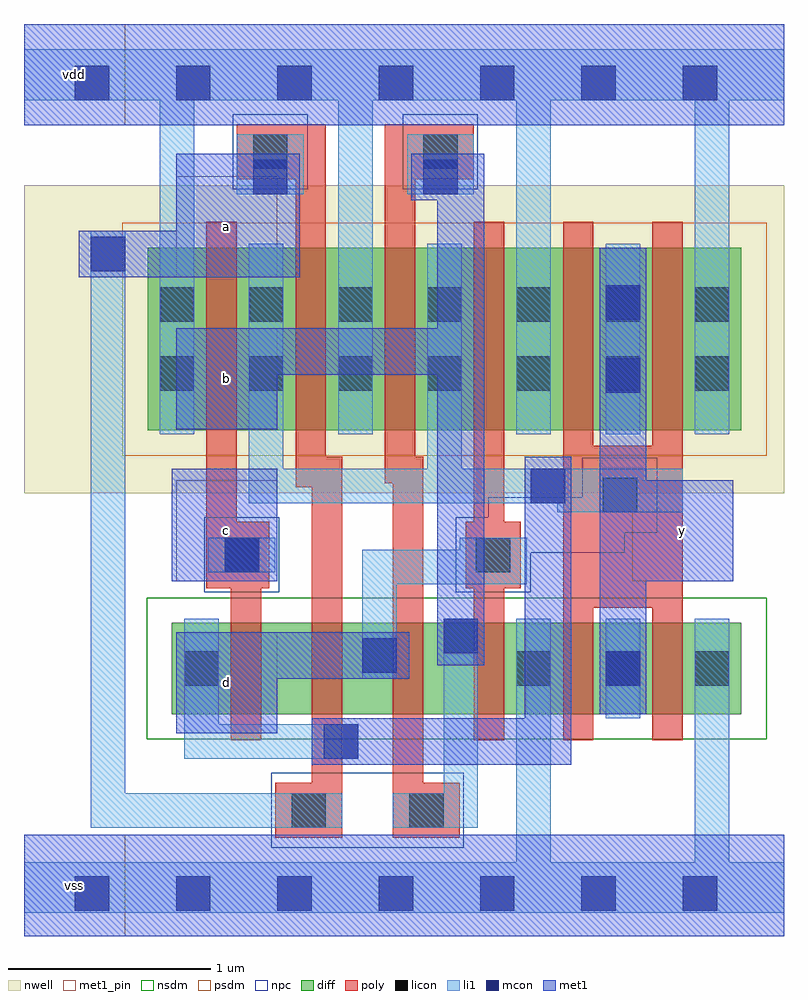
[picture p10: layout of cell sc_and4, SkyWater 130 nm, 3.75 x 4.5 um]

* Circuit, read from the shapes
.subckt sc_and4 a b c d vdd vss y
XM1 sky130_fd_pr__nfet_01v8_sc_and4_m6_4/D c sky130_fd_pr__nfet_01v8_sc_and4_m5_5/D VSUBS sky130_fd_pr__nfet_01v8 w=0.45 l=0.15
XM2 sky130_fd_pr__nfet_01v8_sc_and4_m7_3/D a sky130_fd_pr__nfet_01v8_sc_and4_m6_4/D VSUBS sky130_fd_pr__nfet_01v8 w=0.45 l=0.15
XM3 sky130_fd_pr__nfet_01v8_sc_and4_m8_2/D b sky130_fd_pr__nfet_01v8_sc_and4_m7_3/D VSUBS sky130_fd_pr__nfet_01v8 w=0.45 l=0.15
XM4 vss d sky130_fd_pr__nfet_01v8_sc_and4_m8_2/D VSUBS sky130_fd_pr__nfet_01v8 w=0.45 l=0.15
XM5 y sky130_fd_pr__nfet_01v8_sc_and4_m5_5/D vss VSUBS sky130_fd_pr__nfet_01v8 w=0.45 l=0.15 m=2
XM6 sky130_fd_pr__nfet_01v8_sc_and4_m5_5/D c vdd n1 sky130_fd_pr__pfet_01v8 w=0.9 l=0.15
XM7 vdd a sky130_fd_pr__nfet_01v8_sc_and4_m5_5/D n1 sky130_fd_pr__pfet_01v8 w=0.9 l=0.15
XM8 sky130_fd_pr__nfet_01v8_sc_and4_m5_5/D b vdd n1 sky130_fd_pr__pfet_01v8 w=0.9 l=0.15
XM9 vdd d sky130_fd_pr__nfet_01v8_sc_and4_m5_5/D n1 sky130_fd_pr__pfet_01v8 w=0.9 l=0.15
XM10 y sky130_fd_pr__nfet_01v8_sc_and4_m5_5/D vdd n1 sky130_fd_pr__pfet_01v8 w=0.9 l=0.15 m=2
.ends

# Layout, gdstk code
from math import pi, radians
import gdstk
lib = gdstk.Library(unit=1e-6, precision=1e-09)
def R(c, l, rs):  # rectangles x0, y0, x1, y1
    for r in rs: c.add(gdstk.rectangle(r[:2], r[2:], *l))
def A(c, l, x, y, w, h, nx, ny, dx, dy):  # array of equal rectangles
    R(c, l, [(x+i*dx, y+j*dy, x+i*dx+w, y+j*dy+h) for i in range(nx) for j in range(ny)])
nwell = (64, 20)
diff = (65, 20)
poly = (66, 20)
licon = (66, 44)
li1 = (67, 20)
mcon = (67, 44)
met1_pin = (68, 16)
met1 = (68, 20)
nsdm = (93, 44)
psdm = (94, 20)
npc = (95, 20)

sky130_fd_pr__nfet_01v8_ = lib.new_cell('sky130_fd_pr__nfet_01v8_scc_inv_m2')
R(sky130_fd_pr__nfet_01v8_, diff, [(7.265,-4.22,8.435,-3.77)])
R(sky130_fd_pr__nfet_01v8_, poly, [(7.555,-4.35,7.705,-3.695), (7.995,-4.35,8.145,-3.695), (7.555,-3.695,8.145,-3.545)])
A(sky130_fd_pr__nfet_01v8_, licon, 7.325, -4.08, 0.17, 0.17, 3, 1, 0.44, 0)
A(sky130_fd_pr__nfet_01v8_, li1, 7.325, -4.24, 0.17, 0.49, 3, 1, 0.44, 0)
R(sky130_fd_pr__nfet_01v8_, mcon, [(7.765,-4.08,7.935,-3.91)])
R(sky130_fd_pr__nfet_01v8_, met1, [(7.735,-4.22,7.965,-3.77)])
R(sky130_fd_pr__nfet_01v8_, nsdm, [(7.14,-4.345,8.56,-3.645)])
sky130_fd_pr__nfet_01v8_.add(gdstk.Label('D0', (7.85,-3.995), layer=67, texttype=5))
sky130_fd_pr__nfet_01v8_.add(gdstk.Label('S0', (7.41,-3.995), layer=67, texttype=5))
sky130_fd_pr__nfet_01v8_.add(gdstk.Label('D1', (7.85,-3.995), layer=67, texttype=5))
sky130_fd_pr__nfet_01v8_.add(gdstk.Label('S1', (8.29,-3.995), layer=67, texttype=5))

sky130_fd_pr__pfet_01v8_ = lib.new_cell('sky130_fd_pr__pfet_01v8_scc_inv_m1')
R(sky130_fd_pr__pfet_01v8_, nwell, [(6.85,-4.65,8.38,-3.13)])
R(sky130_fd_pr__pfet_01v8_, diff, [(7.03,-4.34,8.2,-3.44)])
R(sky130_fd_pr__pfet_01v8_, poly, [(7.32,-4.565,7.91,-4.415), (7.32,-4.415,7.47,-3.31), (7.76,-4.415,7.91,-3.31)])
A(sky130_fd_pr__pfet_01v8_, licon, 7.09, -4.145, 0.17, 0.17, 3, 2, 0.44, 0.34)
A(sky130_fd_pr__pfet_01v8_, li1, 7.09, -4.36, 0.17, 0.94, 3, 1, 0.44, 0)
R(sky130_fd_pr__pfet_01v8_, mcon, [(7.53,-4.155,7.7,-3.985), (7.53,-3.795,7.7,-3.625)])
R(sky130_fd_pr__pfet_01v8_, met1, [(7.5,-4.34,7.73,-3.44)])
R(sky130_fd_pr__pfet_01v8_, psdm, [(6.905,-4.465,8.325,-3.315)])
sky130_fd_pr__pfet_01v8_.add(gdstk.Label('D0', (7.615,-3.89), layer=67, texttype=5))
sky130_fd_pr__pfet_01v8_.add(gdstk.Label('S0', (7.175,-3.89), layer=67, texttype=5))
sky130_fd_pr__pfet_01v8_.add(gdstk.Label('D1', (7.615,-3.89), layer=67, texttype=5))
sky130_fd_pr__pfet_01v8_.add(gdstk.Label('S1', (8.055,-3.89), layer=67, texttype=5))

c_sky130_fd_pr__nfet_01v8_ = lib.new_cell('sky130_fd_pr__nfet_01v8_sc_and4_m8')
R(c_sky130_fd_pr__nfet_01v8_, diff, [(-0.325,-0.225,0.365,0.225)])
R(c_sky130_fd_pr__nfet_01v8_, poly, [(-0.075,-0.355,0.075,0.355)])
R(c_sky130_fd_pr__nfet_01v8_, licon, [(0.135,-0.085,0.305,0.085)])
R(c_sky130_fd_pr__nfet_01v8_, li1, [(0.135,-0.245,0.305,0.245)])
R(c_sky130_fd_pr__nfet_01v8_, nsdm, [(-0.45,-0.35,0.49,0.35)])
c_sky130_fd_pr__nfet_01v8_.add(gdstk.Label('D', (-0.22,0), layer=65, texttype=6))
c_sky130_fd_pr__nfet_01v8_.add(gdstk.Label('S', (0.22,0), layer=67, texttype=5))

c_sky130_fd_pr__nfet_01v8__ = lib.new_cell('sky130_fd_pr__nfet_01v8_sc_and4_m7')
R(c_sky130_fd_pr__nfet_01v8__, diff, [(-0.325,-0.225,0.325,0.225)])
R(c_sky130_fd_pr__nfet_01v8__, poly, [(-0.075,-0.355,0.075,0.355)])
R(c_sky130_fd_pr__nfet_01v8__, nsdm, [(-0.45,-0.35,0.45,0.35)])
c_sky130_fd_pr__nfet_01v8__.add(gdstk.Label('D', (-0.22,0), layer=65, texttype=6))
c_sky130_fd_pr__nfet_01v8__.add(gdstk.Label('S', (0.22,0), layer=65, texttype=6))

c_sky130_fd_pr__nfet_01v8___ = lib.new_cell('sky130_fd_pr__nfet_01v8_sc_and4_m6')
R(c_sky130_fd_pr__nfet_01v8___, diff, [(-0.325,-0.225,0.325,0.225)])
R(c_sky130_fd_pr__nfet_01v8___, poly, [(-0.075,-0.355,0.075,0.355)])
R(c_sky130_fd_pr__nfet_01v8___, nsdm, [(-0.45,-0.35,0.45,0.35)])
c_sky130_fd_pr__nfet_01v8___.add(gdstk.Label('D', (-0.22,0), layer=65, texttype=6))
c_sky130_fd_pr__nfet_01v8___.add(gdstk.Label('S', (0.22,0), layer=65, texttype=6))

c_sky130_fd_pr__nfet_01v8____ = lib.new_cell('sky130_fd_pr__nfet_01v8_sc_and4_m5')
R(c_sky130_fd_pr__nfet_01v8____, diff, [(-0.365,-0.225,0.325,0.225)])
R(c_sky130_fd_pr__nfet_01v8____, poly, [(-0.075,-0.355,0.075,0.355)])
R(c_sky130_fd_pr__nfet_01v8____, licon, [(-0.305,-0.085,-0.135,0.085)])
R(c_sky130_fd_pr__nfet_01v8____, li1, [(-0.305,-0.245,-0.135,0.245)])
R(c_sky130_fd_pr__nfet_01v8____, nsdm, [(-0.49,-0.35,0.45,0.35)])
c_sky130_fd_pr__nfet_01v8____.add(gdstk.Label('D', (-0.22,0), layer=67, texttype=5))
c_sky130_fd_pr__nfet_01v8____.add(gdstk.Label('S', (0.22,0), layer=65, texttype=6))

c_sky130_fd_pr__pfet_01v8_ = lib.new_cell('sky130_fd_pr__pfet_01v8_sc_and4_m4')
R(c_sky130_fd_pr__pfet_01v8_, nwell, [(-0.545,-0.76,0.545,0.76)])
R(c_sky130_fd_pr__pfet_01v8_, diff, [(-0.365,-0.45,0.365,0.45)])
R(c_sky130_fd_pr__pfet_01v8_, poly, [(-0.075,-0.58,0.075,0.58)])
R(c_sky130_fd_pr__pfet_01v8_, licon, [(-0.305,-0.255,-0.135,-0.085), (0.135,-0.255,0.305,-0.085), (-0.305,0.085,-0.135,0.255), (0.135,0.085,0.305,0.255)])
R(c_sky130_fd_pr__pfet_01v8_, li1, [(-0.305,-0.47,-0.135,0.47), (0.135,-0.47,0.305,0.47)])
R(c_sky130_fd_pr__pfet_01v8_, psdm, [(-0.49,-0.575,0.49,0.575)])
c_sky130_fd_pr__pfet_01v8_.add(gdstk.Label('D', (-0.22,0), layer=67, texttype=5))
c_sky130_fd_pr__pfet_01v8_.add(gdstk.Label('S', (0.22,0), layer=67, texttype=5))

c_sky130_fd_pr__pfet_01v8__ = lib.new_cell('sky130_fd_pr__pfet_01v8_sc_and4_m3')
R(c_sky130_fd_pr__pfet_01v8__, nwell, [(-0.545,-0.76,0.545,0.76)])
R(c_sky130_fd_pr__pfet_01v8__, diff, [(-0.365,-0.45,0.365,0.45)])
R(c_sky130_fd_pr__pfet_01v8__, poly, [(-0.075,-0.58,0.075,0.58)])
R(c_sky130_fd_pr__pfet_01v8__, licon, [(-0.305,-0.255,-0.135,-0.085), (0.135,-0.255,0.305,-0.085), (-0.305,0.085,-0.135,0.255), (0.135,0.085,0.305,0.255)])
R(c_sky130_fd_pr__pfet_01v8__, li1, [(-0.305,-0.47,-0.135,0.47), (0.135,-0.47,0.305,0.47)])
R(c_sky130_fd_pr__pfet_01v8__, psdm, [(-0.49,-0.575,0.49,0.575)])
c_sky130_fd_pr__pfet_01v8__.add(gdstk.Label('D', (-0.22,0), layer=67, texttype=5))
c_sky130_fd_pr__pfet_01v8__.add(gdstk.Label('S', (0.22,0), layer=67, texttype=5))

c_sky130_fd_pr__pfet_01v8___ = lib.new_cell('sky130_fd_pr__pfet_01v8_sc_and4_m2')
R(c_sky130_fd_pr__pfet_01v8___, nwell, [(-0.545,-0.76,0.545,0.76)])
R(c_sky130_fd_pr__pfet_01v8___, diff, [(-0.365,-0.45,0.365,0.45)])
R(c_sky130_fd_pr__pfet_01v8___, poly, [(-0.075,-0.58,0.075,0.58)])
R(c_sky130_fd_pr__pfet_01v8___, licon, [(-0.305,-0.255,-0.135,-0.085), (0.135,-0.255,0.305,-0.085), (-0.305,0.085,-0.135,0.255), (0.135,0.085,0.305,0.255)])
R(c_sky130_fd_pr__pfet_01v8___, li1, [(-0.305,-0.47,-0.135,0.47), (0.135,-0.47,0.305,0.47)])
R(c_sky130_fd_pr__pfet_01v8___, psdm, [(-0.49,-0.575,0.49,0.575)])
c_sky130_fd_pr__pfet_01v8___.add(gdstk.Label('D', (-0.22,0), layer=67, texttype=5))
c_sky130_fd_pr__pfet_01v8___.add(gdstk.Label('S', (0.22,0), layer=67, texttype=5))

c_sky130_fd_pr__pfet_01v8____ = lib.new_cell('sky130_fd_pr__pfet_01v8_sc_and4_m1')
R(c_sky130_fd_pr__pfet_01v8____, nwell, [(-0.545,-0.76,0.545,0.76)])
R(c_sky130_fd_pr__pfet_01v8____, diff, [(-0.365,-0.45,0.365,0.45)])
R(c_sky130_fd_pr__pfet_01v8____, poly, [(-0.075,-0.58,0.075,0.58)])
R(c_sky130_fd_pr__pfet_01v8____, licon, [(-0.305,-0.255,-0.135,-0.085), (0.135,-0.255,0.305,-0.085), (-0.305,0.085,-0.135,0.255), (0.135,0.085,0.305,0.255)])
R(c_sky130_fd_pr__pfet_01v8____, li1, [(-0.305,-0.47,-0.135,0.47), (0.135,-0.47,0.305,0.47)])
R(c_sky130_fd_pr__pfet_01v8____, psdm, [(-0.49,-0.575,0.49,0.575)])
c_sky130_fd_pr__pfet_01v8____.add(gdstk.Label('D', (-0.22,0), layer=67, texttype=5))
c_sky130_fd_pr__pfet_01v8____.add(gdstk.Label('S', (0.22,0), layer=67, texttype=5))

sc_and4 = lib.new_cell('sc_and4')
R(sc_and4, nwell, [(4.5,-9.815,8.25,-8.295)])
R(sc_and4, poly, [(5.74,-11.515,6.07,-11.245), (6.32,-11.515,6.65,-11.245), (5.92,-11.245,6.07,-11.035), (6.32,-11.245,6.47,-11.035), (5.52,-10.325,5.67,-10.285), (5.92,-10.325,6.07,-9.785), (6.32,-10.325,6.47,-9.765), (6.72,-10.325,6.87,-10.285), (5.4,-10.285,5.71,-9.955), (6.68,-10.285,6.95,-9.955), (7.16,-10.23,7.75,-9.73), (5.4,-9.955,5.55,-9.635), (6.72,-9.955,6.87,-9.635), (5.84,-9.785,6.07,-9.635), (6.28,-9.765,6.47,-9.635), (5.84,-8.475,5.99,-8.265), (6.28,-8.475,6.43,-8.265), (5.55,-8.265,5.99,-7.995), (6.28,-8.265,6.72,-7.995)])
R(sc_and4, licon, [(5.82,-11.465,5.99,-11.295), (6.4,-11.465,6.57,-11.295), (5.49,-10.205,5.66,-10.035), (6.73,-10.205,6.9,-10.035), (7.355,-9.91,7.525,-9.74), (5.63,-8.215,5.8,-8.045), (6.47,-8.215,6.64,-8.045)])
A(sc_and4, li1, 5.17, -8.585, 0.17, 0.71, 4, 1, 0.88, 0)
R(sc_and4, li1, [(4.5,-11.885,8.25,-11.635), (6.93,-11.635,7.1,-10.925), (7.81,-11.635,7.98,-10.925), (4.83,-11.465,6.07,-11.295), (6.32,-11.465,6.74,-11.295), (4.83,-11.295,5,-8.52), (6.57,-11.295,6.74,-10.435), (5.29,-11.125,6.15,-10.955), (5.29,-10.955,5.46,-10.925), (6.17,-10.73,6.34,-10.265), (6.17,-10.265,6.98,-10.095), (5.41,-10.205,5.74,-10.035), (6.65,-10.095,6.98,-10.035), (7.13,-9.91,7.75,-9.865), (5.61,-9.865,7.75,-9.695), (5.61,-9.695,5.78,-9.52), (6.49,-9.695,6.66,-9.52), (5.55,-8.34,5.88,-8.045), (6.39,-8.34,6.72,-8.045), (4.5,-7.875,8.25,-7.625)])
A(sc_and4, mcon, 4.75, -11.875, 0.17, 0.17, 7, 2, 0.5, 4)
R(sc_and4, mcon, [(5.98,-11.125,6.15,-10.955), (6.17,-10.7,6.34,-10.53), (6.57,-10.605,6.74,-10.435), (5.49,-10.205,5.66,-10.035), (7,-9.865,7.17,-9.695), (4.83,-8.72,5,-8.55), (5.63,-8.34,5.8,-8.17), (6.47,-8.34,6.64,-8.17)])
A(sc_and4, met1_pin, 5.25, -11, 0.5, 0.5, 1, 4, 0, 0.75)
R(sc_and4, met1_pin, [(4.5,-12,5,-11.5), (7.5,-10.25,8,-9.75), (4.5,-8,5,-7.5)])
R(sc_and4, met1, [(4.5,-12,8.25,-11.5), (5.92,-11.155,7.2,-10.925), (5.25,-11,5.75,-10.73), (6.97,-10.925,7.2,-9.635), (5.25,-10.73,6.4,-10.5), (6.54,-10.665,6.77,-9.23), (7.34,-10.455,7.57,-10.25), (5.23,-10.25,5.75,-9.695), (7.34,-10.25,8,-9.75), (7.34,-9.75,7.57,-9.505), (5.25,-9.5,5.75,-9.23), (5.25,-9.23,6.77,-9), (6.54,-9,6.77,-8.37), (4.77,-8.75,5.86,-8.52), (5.25,-8.52,5.86,-8.14), (6.41,-8.37,6.77,-8.14), (4.5,-8,8.25,-7.5)])
R(sc_and4, npc, [(5.72,-11.565,6.67,-11.195), (5.39,-10.305,5.76,-9.935), (6.63,-10.305,7,-10.11), (6.63,-10.11,7.465,-10.01), (6.63,-10.01,7.625,-9.935), (6.79,-9.935,7.625,-9.835), (7.255,-9.835,7.625,-9.64), (5.53,-8.315,5.9,-7.945), (6.37,-8.315,6.74,-7.945)])
sc_and4.add(gdstk.Reference(sky130_fd_pr__nfet_01v8_, (-0.395,-6.685)))
sc_and4.add(gdstk.Reference(sky130_fd_pr__pfet_01v8_, (-0.16,-5.165)))
sc_and4.add(gdstk.Reference(c_sky130_fd_pr__nfet_01v8_, (6.795,-10.68)))
sc_and4.add(gdstk.Reference(c_sky130_fd_pr__nfet_01v8__, (6.395,-10.68)))
sc_and4.add(gdstk.Reference(c_sky130_fd_pr__nfet_01v8___, (5.995,-10.68)))
sc_and4.add(gdstk.Reference(c_sky130_fd_pr__nfet_01v8____, (5.595,-10.68)))
sc_and4.add(gdstk.Reference(c_sky130_fd_pr__pfet_01v8_, (6.795,-9.055)))
sc_and4.add(gdstk.Reference(c_sky130_fd_pr__pfet_01v8__, (6.355,-9.055), rotation=pi))
sc_and4.add(gdstk.Reference(c_sky130_fd_pr__pfet_01v8___, (5.915,-9.055)))
sc_and4.add(gdstk.Reference(c_sky130_fd_pr__pfet_01v8____, (5.475,-9.055), rotation=pi))
sc_and4.add(gdstk.Label('vdd', (4.75,-7.75), layer=68, texttype=5))
sc_and4.add(gdstk.Label('vss', (4.75,-11.75), layer=68, texttype=5))
sc_and4.add(gdstk.Label('a', (5.5,-8.5), layer=68, texttype=5))
sc_and4.add(gdstk.Label('b', (5.5,-9.25), layer=68, texttype=5))
sc_and4.add(gdstk.Label('c', (5.5,-10), layer=68, texttype=5))
sc_and4.add(gdstk.Label('d', (5.5,-10.75), layer=68, texttype=5))
sc_and4.add(gdstk.Label('y', (7.75,-10), layer=68, texttype=5))

lib.write_gds('sc_and4.gds')
